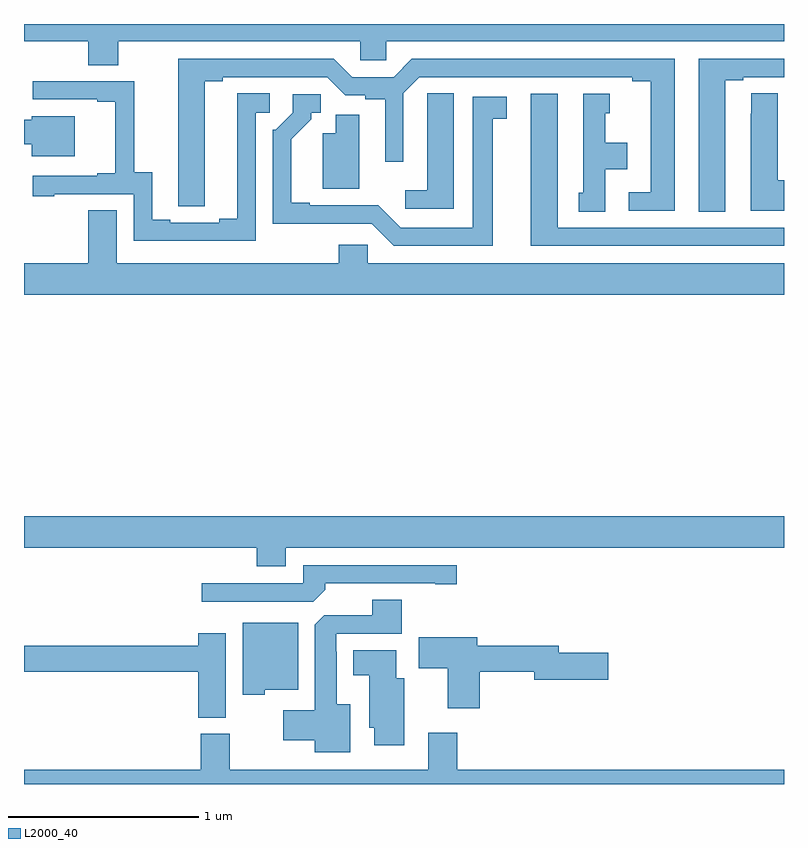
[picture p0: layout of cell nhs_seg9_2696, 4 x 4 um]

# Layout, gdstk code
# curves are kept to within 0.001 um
import gdstk
lib = gdstk.Library(unit=1e-6, precision=1e-09)
def P(c, l, *ps):  # polygons
    for p in ps: c.add(gdstk.Polygon(p, *l))
L2000_40 = (2000, 40)

nhs_seg9_2696 = lib.new_cell('nhs_seg9_2696')
P(nhs_seg9_2696, L2000_40, [(265.497,1208.408),(266.769,1208.408),(266.769,1208.31),(266.907,1208.31),(266.907,1208.408),(269,1208.408),(269,1208.5),(265,1208.5),(265,1208.408),(265.337,1208.408),(265.337,1208.284),(265.497,1208.284)],
  [(268.426,1208.316),(267.041,1208.316),(266.945,1208.22),(266.727,1208.22),(266.631,1208.316),(265.811,1208.316),(265.812,1207.54),(265.951,1207.54),(265.951,1208.2),(266.047,1208.2),(266.047,1208.22),(266.595,1208.22),(266.691,1208.124),(266.796,1208.124),(266.796,1208.104),(266.9,1208.104),(266.9,1207.776),(266.997,1207.776),(266.997,1208.136),(267.081,1208.22),(268.202,1208.22),(268.202,1208.2),(268.298,1208.2),(268.298,1207.614),(268.182,1207.614),(268.182,1207.518),(268.426,1207.518)],
  [(268.69,1208.205),(268.786,1208.205),(268.786,1208.22),(269,1208.22),(269,1208.316),(268.55,1208.316),(268.55,1207.513),(268.69,1207.513)],
  [(266.22,1208.034),(266.293,1208.034),(266.293,1208.135),(266.123,1208.135),(266.123,1207.475),(266.027,1207.475),(266.027,1207.455),(265.771,1207.455),(265.771,1207.47),(265.675,1207.47),(265.675,1207.721),(265.581,1207.721),(265.581,1208.199),(265.047,1208.199),(265.047,1208.103),(265.385,1208.103),(265.385,1208.091),(265.481,1208.091),(265.481,1207.714),(265.385,1207.714),(265.385,1207.701),(265.047,1207.701),(265.047,1207.593),(265.159,1207.593),(265.159,1207.605),(265.578,1207.605),(265.578,1207.359),(266.22,1207.359)],
  [(267.262,1208.135),(267.123,1208.135),(267.123,1208.027),(267.122,1208.027),(267.122,1207.624),(267.006,1207.624),(267.006,1207.527),(267.262,1207.527)],
  [(269,1207.677),(268.966,1207.677),(268.966,1208.135),(268.827,1208.135),(268.827,1208.027),(268.826,1208.027),(268.826,1207.517),(269,1207.517)],
  [(268.06,1207.736),(268.174,1207.736),(268.174,1207.876),(268.06,1207.876),(268.06,1208.031),(268.084,1208.031),(268.084,1208.134),(267.944,1208.134),(267.944,1207.611),(267.92,1207.611),(267.92,1207.513),(268.06,1207.513)],
  [(269,1207.428),(267.808,1207.428),(267.808,1208.134),(267.668,1208.134),(267.668,1207.332),(269,1207.332)],
  [(267.466,1208.002),(267.541,1208.002),(267.541,1208.118),(267.362,1208.118),(267.362,1207.428),(266.982,1207.428),(266.865,1207.545),(266.503,1207.545),(266.503,1207.558),(266.407,1207.558),(266.407,1207.894),(266.512,1207.999),(266.512,1208.034),(266.562,1208.034),(266.562,1208.13),(266.415,1208.13),(266.415,1208.034),(266.325,1207.944),(266.31,1207.944),(266.31,1207.448),(266.829,1207.449),(266.946,1207.332),(267.466,1207.332)],
  [(266.764,1208.022),(266.642,1208.022),(266.642,1207.924),(266.573,1207.924),(266.573,1207.634),(266.764,1207.634)],
  [(265.267,1208.014),(265.04,1208.014),(265.04,1207.996),(265,1207.996),(265,1207.867),(265.04,1207.867),(265.04,1207.805),(265.267,1207.805)],
  [(269,1207.24),(266.808,1207.24),(266.808,1207.338),(266.657,1207.338),(266.657,1207.24),(265.489,1207.24),(265.489,1207.52),(265.337,1207.52),(265.337,1207.24),(265,1207.24),(265,1207.076),(269,1207.076)],
  [(266.377,1205.744),(269,1205.744),(269,1205.908),(265,1205.908),(265,1205.744),(266.225,1205.744),(266.225,1205.645),(266.377,1205.645)],
  [(266.585,1205.522),(266.585,1205.556),(267.164,1205.556),(267.164,1205.551),(267.277,1205.551),(267.277,1205.652),(266.469,1205.652),(266.469,1205.556),(265.935,1205.556),(265.935,1205.46),(266.523,1205.46)],
  [(266.716,1204.921),(266.647,1204.921),(266.647,1205.195),(266.643,1205.195),(266.643,1205.292),(266.987,1205.292),(266.987,1205.471),(266.834,1205.471),(266.834,1205.388),(266.58,1205.388),(266.531,1205.339),(266.531,1204.888),(266.364,1204.888),(266.364,1204.73),(266.531,1204.73),(266.531,1204.667),(266.716,1204.667)],
  [(266.268,1204.997),(266.443,1204.997),(266.443,1205.35),(266.15,1205.35),(266.15,1204.97),(266.268,1204.97)],
  [(266.062,1205.293),(265.916,1205.293),(265.916,1205.228),(265,1205.228),(265,1205.092),(265.916,1205.092),(265.916,1204.849),(266.062,1204.849)],
  [(267.398,1205.092),(267.686,1205.092),(267.686,1205.05),(268.075,1205.05),(268.075,1205.192),(267.814,1205.192),(267.814,1205.228),(267.385,1205.228),(267.385,1205.272),(267.078,1205.272),(267.078,1205.11),(267.23,1205.11),(267.23,1204.899),(267.398,1204.899)],
  [(267.001,1205.056),(266.959,1205.056),(266.959,1205.203),(266.732,1205.203),(266.732,1205.072),(266.816,1205.072),(266.816,1204.797),(266.843,1204.797),(266.843,1204.704),(267.001,1204.704)],
  [(269,1204.576),(267.281,1204.576),(267.281,1204.771),(267.128,1204.771),(267.128,1204.576),(266.083,1204.576),(266.083,1204.764),(265.931,1204.764),(265.931,1204.576),(265,1204.576),(265,1204.5),(269,1204.5)])

lib.write_gds('nhs_seg9_2696.gds')
